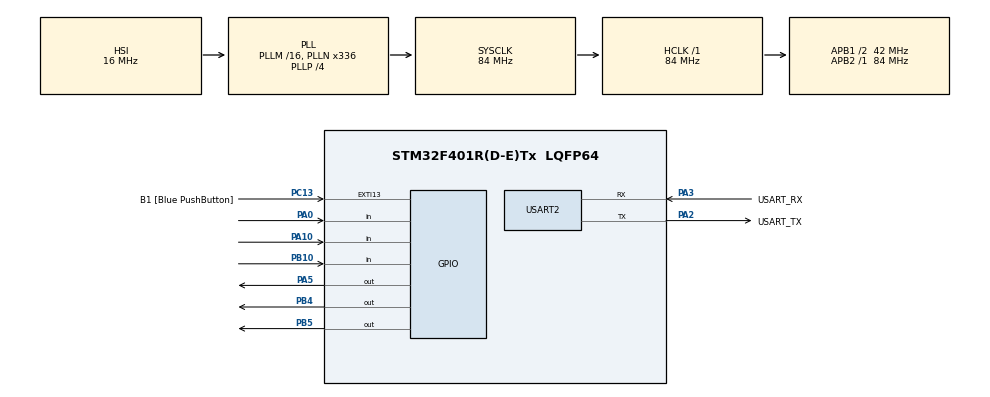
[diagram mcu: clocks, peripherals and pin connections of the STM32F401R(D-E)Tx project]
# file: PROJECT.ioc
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Mcu.Family=STM32F4
Mcu.Name=STM32F401R(D-E)Tx
Mcu.Package=LQFP64
NVIC.PriorityGroup=NVIC_PRIORITYGROUP_4
PA0-WKUP.Signal=GPIO_Input
PA10.Signal=GPIO_Input
PA13.GPIO_Label=TMS
PA13.Mode=Trace_Asynchronous_SW
PA13.Signal=SYS_JTMS-SWDIO
PA14.GPIO_Label=TCK
PA14.Mode=Trace_Asynchronous_SW
PA14.Signal=SYS_JTCK-SWCLK
PA2.GPIO_Label=USART_TX
PA2.GPIO_Mode=GPIO_MODE_AF_PP
PA2.GPIO_PuPd=GPIO_NOPULL
PA2.GPIO_Speed=GPIO_SPEED_FREQ_LOW
PA2.Mode=Asynchronous
PA2.Signal=USART2_TX
PA3.GPIO_Label=USART_RX
PA3.GPIO_Mode=GPIO_MODE_AF_PP
PA3.GPIO_PuPd=GPIO_NOPULL
PA3.GPIO_Speed=GPIO_SPEED_FREQ_LOW
PA3.Mode=Asynchronous
PA3.Signal=USART2_RX
PA5.Signal=GPIO_Output
PB10.Signal=GPIO_Input
PB15.Signal=SPI2_MOSI
PB3.GPIO_Label=SWO
PB3.Mode=Trace_Asynchronous_SW
PB3.Signal=SYS_JTDO-SWO
PB4.Signal=GPIO_Output
PB5.Signal=GPIO_Output
PC13-ANTI_TAMP.GPIO_Label=B1 [Blue PushButton]
PC13-ANTI_TAMP.GPIO_ModeDefaultEXTI=GPIO_MODE_IT_FALLING
PC13-ANTI_TAMP.GPIO_PuPd=GPIO_NOPULL
PC13-ANTI_TAMP.Signal=GPXTI13
PC14-OSC32_IN.Mode=LSE-External-Oscillator
PC14-OSC32_IN.Signal=RCC_OSC32_IN
PC15-OSC32_OUT.Mode=LSE-External-Oscillator
PC15-OSC32_OUT.Signal=RCC_OSC32_OUT
PH0\ -\ OSC_IN.Mode=HSE-External-Clock-Source
PH0\ -\ OSC_IN.Signal=RCC_OSC_IN
PH1\ -\ OSC_OUT.Mode=HSE-External-Clock-Source
PH1\ -\ OSC_OUT.Signal=RCC_OSC_OUT
ProjectManager.HeapSize=0x200
ProjectManager.StackSize=0x400
ProjectManager.TargetToolchain=STM32CubeIDE
RCC.48MHZClocksFreq_Value=48000000
RCC.AHBFreq_Value=84000000
RCC.APB1CLKDivider=RCC_HCLK_DIV2
RCC.APB1Freq_Value=42000000
RCC.APB1TimFreq_Value=84000000
RCC.APB2Freq_Value=84000000
RCC.APB2TimFreq_Value=84000000
RCC.CortexFreq_Value=84000000
RCC.HCLKFreq_Value=84000000
RCC.HSE_VALUE=8000000
RCC.HSI_VALUE=16000000
RCC.PLLN=336
RCC.PLLP=RCC_PLLP_DIV4
RCC.PLLQ=7
RCC.SYSCLKFreq_VALUE=84000000
RCC.SYSCLKSource=RCC_SYSCLKSOURCE_PLLCLK
RCC.VCOOutputFreq_Value=336000000
USART2.VirtualMode=VM_ASYNC
board=NUCLEO-F401RE

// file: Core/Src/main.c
/* USER CODE BEGIN Header */
/**
  ******************************************************************************
  * @file           : main.c
  * @brief          : Main program body
  ******************************************************************************
  * @attention
  *
  * Copyright (c) 2026 STMicroelectronics.
  * All rights reserved.
  *
  ******************************************************************************
  */
/* USER CODE END Header */

#include "main.h"

/* USER CODE BEGIN Includes */
#include <string.h>
#include <stdio.h>
/* USER CODE END Includes */

/* USER CODE BEGIN PD */

/* ===== PIN DEFINITIONS (BASED ON YOUR CONNECTIONS) ===== */
#define LED_PORT        GPIOB
#define LED_PIN         GPIO_PIN_4     // External LED on PB4

#define BUZZER_PORT     GPIOB
#define BUZZER_PIN      GPIO_PIN_5     // Buzzer on PB5

#define LDR_PORT        GPIOB
#define LDR_PIN         GPIO_PIN_10    // LDR D0 on PB10 (Digital)

#define TRIG_PORT       GPIOB
#define TRIG_PIN        GPIO_PIN_3     // Ultrasonic TRIG on PB3

#define ECHO_PORT       GPIOA
#define ECHO_PIN        GPIO_PIN_10    // Ultrasonic ECHO on PA10

#define DHT_PORT        GPIOA
#define DHT_PIN         GPIO_PIN_0     // DHT DATA on PA0

/* Thresholds */
#define DIST_ALERT_CM   15
#define DIST_WARN_CM    30

/* Physical Constants */
#define SPEED_OF_SOUND_CM_US 0.0343f

/* USER CODE END PD */

UART_HandleTypeDef huart2;

/* USER CODE BEGIN PV */
float distance_cm = 0;
uint8_t lightDetected = 0;

uint8_t dht_temp = 0;
uint8_t dht_hum  = 0;
uint8_t dht_ok   = 0;
/* USER CODE END PV */

void SystemClock_Config(void);
static void MX_GPIO_Init(void);
static void MX_USART2_UART_Init(void);

/* USER CODE BEGIN PFP */
static void delay_us(uint16_t us);
static void DWT_Init(void);

static float Ultrasonic_ReadDistanceCM(void);

static void DHT_SetPinOutput(void);
static void DHT_SetPinInput(void);
static uint8_t DHT_Read(uint8_t *temperature, uint8_t *humidity);

static void LED_ON(void);
static void LED_OFF(void);
static void BUZZER_ON(void);
static void BUZZER_OFF(void);
/* USER CODE END PFP */

/* USER CODE BEGIN 0 */

/* ✅ printf redirect to UART2 */
int _write(int file, char *ptr, int len)
{
  HAL_UART_Transmit(&huart2, (uint8_t*)ptr, len, HAL_MAX_DELAY);
  return len;
}

/* microsecond delay using DWT */
static void delay_us(uint16_t us)
{
  uint32_t start = DWT->CYCCNT;
  uint32_t ticks = (SystemCoreClock / 1000000) * us;
  while ((DWT->CYCCNT - start) < ticks);
}

/* Enable DWT cycle counter (needed for delay_us) */
static void DWT_Init(void)
{
  CoreDebug->DEMCR |= CoreDebug_DEMCR_TRCENA_Msk;
  DWT->CYCCNT = 0;
  DWT->CTRL |= DWT_CTRL_CYCCNTENA_Msk;
}

/* ✅ ACTIVE-LOW LED / BUZZER helpers */
static void LED_OFF(void)    { HAL_GPIO_WritePin(LED_PORT, LED_PIN, GPIO_PIN_SET); }
static void LED_ON(void)     { HAL_GPIO_WritePin(LED_PORT, LED_PIN, GPIO_PIN_RESET); }

static void BUZZER_OFF(void) { HAL_GPIO_WritePin(BUZZER_PORT, BUZZER_PIN, GPIO_PIN_SET); }
static void BUZZER_ON(void)  { HAL_GPIO_WritePin(BUZZER_PORT, BUZZER_PIN, GPIO_PIN_RESET); }

/**
 * @brief Reads distance from the HC-SR04 Ultrasonic sensor using DWT.
 * @retval float Distance in centimeters, or -1.0 on timeout.
 */
static float Ultrasonic_ReadDistanceCM(void)
{
  uint32_t t1 = 0, t2 = 0;
  uint32_t timeout = 60000;

  /* Trigger pulse */
  HAL_GPIO_WritePin(TRIG_PORT, TRIG_PIN, GPIO_PIN_RESET);
  delay_us(2);
  HAL_GPIO_WritePin(TRIG_PORT, TRIG_PIN, GPIO_PIN_SET);
  delay_us(10);
  HAL_GPIO_WritePin(TRIG_PORT, TRIG_PIN, GPIO_PIN_RESET);

  /* Wait for ECHO HIGH */
  uint32_t startWait = HAL_GetTick();
  while (HAL_GPIO_ReadPin(ECHO_PORT, ECHO_PIN) == GPIO_PIN_RESET)
  {
    if ((HAL_GetTick() - startWait) > 50) return -1;
  }

  t1 = DWT->CYCCNT;

  /* Wait for ECHO LOW */
  while (HAL_GPIO_ReadPin(ECHO_PORT, ECHO_PIN) == GPIO_PIN_SET)
  {
    if (timeout-- == 0) return -1;
  }

  t2 = DWT->CYCCNT;

  uint32_t diff_cycles = (t2 - t1);
  float time_us = (float)diff_cycles / (SystemCoreClock / 1000000.0f);
  float dist = (time_us * SPEED_OF_SOUND_CM_US) / 2.0f;

  return dist;
}

/* DHT pin direction control */
static void DHT_SetPinOutput(void)
{
  GPIO_InitTypeDef GPIO_InitStruct = {0};
  GPIO_InitStruct.Pin = DHT_PIN;
  GPIO_InitStruct.Mode = GPIO_MODE_OUTPUT_PP;
  GPIO_InitStruct.Pull = GPIO_NOPULL;
  GPIO_InitStruct.Speed = GPIO_SPEED_FREQ_LOW;
  HAL_GPIO_Init(DHT_PORT, &GPIO_InitStruct);
}

static void DHT_SetPinInput(void)
{
  GPIO_InitTypeDef GPIO_InitStruct = {0};
  GPIO_InitStruct.Pin = DHT_PIN;
  GPIO_InitStruct.Mode = GPIO_MODE_INPUT;
  GPIO_InitStruct.Pull = GPIO_NOPULL;
  HAL_GPIO_Init(DHT_PORT, &GPIO_InitStruct);
}

/**
 * @brief Reads temperature and humidity from the DHT sensor using 1-wire protocol.
 * @param temperature Pointer to store the read temperature.
 * @param humidity Pointer to store the read humidity.
 * @retval uint8_t 1 if successful, 0 if checksum or timeout fails.
 */
static uint8_t DHT_Read(uint8_t *temperature, uint8_t *humidity)
{
  uint8_t data[5] = {0};

  /* Start signal */
  DHT_SetPinOutput();
  HAL_GPIO_WritePin(DHT_PORT, DHT_PIN, GPIO_PIN_RESET);
  HAL_Delay(18);
  HAL_GPIO_WritePin(DHT_PORT, DHT_PIN, GPIO_PIN_SET);
  delay_us(30);
  DHT_SetPinInput();

  /* Response check */
  uint32_t wait = 0;
  while (HAL_GPIO_ReadPin(DHT_PORT, DHT_PIN) == GPIO_PIN_SET)
  {
    if (wait++ > 150) return 0;
    delay_us(1);
  }

  wait = 0;
  while (HAL_GPIO_ReadPin(DHT_PORT, DHT_PIN) == GPIO_PIN_RESET)
  {
    if (wait++ > 150) return 0;
    delay_us(1);
  }

  wait = 0;
  while (HAL_GPIO_ReadPin(DHT_PORT, DHT_PIN) == GPIO_PIN_SET)
  {
    if (wait++ > 150) return 0;
    delay_us(1);
  }

  /* Read 40 bits */
  for (int i = 0; i < 40; i++)
  {
    while (HAL_GPIO_ReadPin(DHT_PORT, DHT_PIN) == GPIO_PIN_RESET);

    uint32_t t = 0;
    while (HAL_GPIO_ReadPin(DHT_PORT, DHT_PIN) == GPIO_PIN_SET)
    {
      t++;
      delay_us(1);
      if (t > 255) break;
    }

    data[i/8] <<= 1;
    if (t > 40)
      data[i/8] |= 1;
  }

  if ((uint8_t)(data[0] + data[1] + data[2] + data[3]) != data[4])
    return 0;

  *humidity = data[0];
  *temperature = data[2];
  return 1;
}

/* USER CODE END 0 */

int main(void)
{
  HAL_Init();

  /* ✅ Init DWT AFTER clock config (most stable) */
  SystemClock_Config();
  DWT_Init();

  MX_GPIO_Init();
  MX_USART2_UART_Init();

  LED_OFF();
  BUZZER_OFF();

  printf("\r\n✅ SYSTEM STARTED ✅\r\n");
  printf("Distance | LDR | Temp | Hum\r\n");

  uint32_t last_print = 0;

  while (1)
  {
    /* -------- LDR DIGITAL READ -------- */
    uint8_t ldr_raw = HAL_GPIO_ReadPin(LDR_PORT, LDR_PIN);

    /* ✅ Adjust this if your LDR module logic is opposite */
    if (ldr_raw == GPIO_PIN_RESET)
      lightDetected = 0;   // DARK
    else
      lightDetected = 1;   // BRIGHT

    /* -------- ULTRASONIC READ -------- */
    distance_cm = Ultrasonic_ReadDistanceCM();

    /* -------- DHT READ (every 2 sec) -------- */
    static uint32_t last_dht_time = 0;
    if (HAL_GetTick() - last_dht_time >= 2000)
    {
      last_dht_time = HAL_GetTick();
      dht_ok = DHT_Read(&dht_temp, &dht_hum);
    }

    /* ✅ PRINT EVERY 1 SECOND */
    if (HAL_GetTick() - last_print >= 1000)
    {
      last_print = HAL_GetTick();

      if (distance_cm < 0)
        printf("Dist=ERR | ");
      else
        printf("Dist=%.2fcm | ", distance_cm);

      printf("LDR=%s | ", (lightDetected ? "BRIGHT" : "DARK"));

      if (dht_ok)
        printf("Temp=%dC | Hum=%d%%\r\n", dht_temp, dht_hum);
      else
        printf("Temp=-- | Hum=-- (DHT FAIL)\r\n");
    }

    /* -------- OUTPUT LOGIC -------- */
    LED_OFF();
    BUZZER_OFF();

    /* Condition 1: Object very near */
    if (distance_cm > 0 && distance_cm <= DIST_ALERT_CM)
    {
      LED_ON();
      BUZZER_ON();
      HAL_Delay(150);
      LED_OFF();
      BUZZER_OFF();
      HAL_Delay(150);
      continue;
    }

    /* Condition 2: Object near */
    if (distance_cm > 0 && distance_cm <= DIST_WARN_CM)
    {
      LED_ON();
      HAL_Delay(300);
      LED_OFF();
      HAL_Delay(300);
      continue;
    }

    /* Condition 3: Darkness detected */
    if (lightDetected == 0)
    {
      LED_ON();
      HAL_Delay(700);
      LED_OFF();
      HAL_Delay(700);
      continue;
    }

    /* Condition 4: DHT warning (if ok) */
    if (dht_ok)
    {
      if (dht_temp >= 35 || dht_hum >= 80)
      {
        LED_ON();
        BUZZER_ON();
        HAL_Delay(200);
        LED_OFF();
        BUZZER_OFF();
        HAL_Delay(800);
        continue;
      }
    }

    HAL_Delay(50);
  }
}

/* System Clock */
void SystemClock_Config(void)
{
  RCC_OscInitTypeDef RCC_OscInitStruct = {0};
  RCC_ClkInitTypeDef RCC_ClkInitStruct = {0};

  __HAL_RCC_PWR_CLK_ENABLE();
  __HAL_PWR_VOLTAGESCALING_CONFIG(PWR_REGULATOR_VOLTAGE_SCALE2);

  RCC_OscInitStruct.OscillatorType = RCC_OSCILLATORTYPE_HSI;
  RCC_OscInitStruct.HSIState = RCC_HSI_ON;
  RCC_OscInitStruct.HSICalibrationValue = RCC_HSICALIBRATION_DEFAULT;
  RCC_OscInitStruct.PLL.PLLState = RCC_PLL_ON;
  RCC_OscInitStruct.PLL.PLLSource = RCC_PLLSOURCE_HSI;
  RCC_OscInitStruct.PLL.PLLM = 16;
  RCC_OscInitStruct.PLL.PLLN = 336;
  RCC_OscInitStruct.PLL.PLLP = RCC_PLLP_DIV4;
  RCC_OscInitStruct.PLL.PLLQ = 7;
  if (HAL_RCC_OscConfig(&RCC_OscInitStruct) != HAL_OK) Error_Handler();

  RCC_ClkInitStruct.ClockType = RCC_CLOCKTYPE_HCLK|RCC_CLOCKTYPE_SYSCLK
                              |RCC_CLOCKTYPE_PCLK1|RCC_CLOCKTYPE_PCLK2;
  RCC_ClkInitStruct.SYSCLKSource = RCC_SYSCLKSOURCE_PLLCLK;
  RCC_ClkInitStruct.AHBCLKDivider = RCC_SYSCLK_DIV1;
  RCC_ClkInitStruct.APB1CLKDivider = RCC_HCLK_DIV2;
  RCC_ClkInitStruct.APB2CLKDivider = RCC_HCLK_DIV1;

  if (HAL_RCC_ClockConfig(&RCC_ClkInitStruct, FLASH_LATENCY_2) != HAL_OK)
    Error_Handler();
}

/* UART2 init */
static void MX_USART2_UART_Init(void)
{
  huart2.Instance = USART2;
  huart2.Init.BaudRate = 115200;
  huart2.Init.WordLength = UART_WORDLENGTH_8B;
  huart2.Init.StopBits = UART_STOPBITS_1;
  huart2.Init.Parity = UART_PARITY_NONE;
  huart2.Init.Mode = UART_MODE_TX_RX;
  huart2.Init.HwFlowCtl = UART_HWCONTROL_NONE;
  huart2.Init.OverSampling = UART_OVERSAMPLING_16;
  if (HAL_UART_Init(&huart2) != HAL_OK) Error_Handler();
}

/* GPIO init */
static void MX_GPIO_Init(void)
{
  GPIO_InitTypeDef GPIO_InitStruct = {0};

  __HAL_RCC_GPIOC_CLK_ENABLE();
  __HAL_RCC_GPIOH_CLK_ENABLE();
  __HAL_RCC_GPIOA_CLK_ENABLE();
  __HAL_RCC_GPIOB_CLK_ENABLE();

  /* ✅ IMPORTANT: set outputs OFF (ACTIVE LOW => SET = OFF) */
  HAL_GPIO_WritePin(GPIOB, LED_PIN|BUZZER_PIN, GPIO_PIN_SET);
  HAL_GPIO_WritePin(GPIOB, TRIG_PIN, GPIO_PIN_RESET);

  /* LED PB4 */
  GPIO_InitStruct.Pin = LED_PIN;
  GPIO_InitStruct.Mode = GPIO_MODE_OUTPUT_PP;
  GPIO_InitStruct.Pull = GPIO_NOPULL;
  GPIO_InitStruct.Speed = GPIO_SPEED_FREQ_LOW;
  HAL_GPIO_Init(LED_PORT, &GPIO_InitStruct);

  /* Buzzer PB5 */
  GPIO_InitStruct.Pin = BUZZER_PIN;
  GPIO_InitStruct.Mode = GPIO_MODE_OUTPUT_PP;
  GPIO_InitStruct.Pull = GPIO_NOPULL;
  GPIO_InitStruct.Speed = GPIO_SPEED_FREQ_LOW;
  HAL_GPIO_Init(BUZZER_PORT, &GPIO_InitStruct);

  /* TRIG PB3 */
  GPIO_InitStruct.Pin = TRIG_PIN;
  GPIO_InitStruct.Mode = GPIO_MODE_OUTPUT_PP;
  GPIO_InitStruct.Pull = GPIO_NOPULL;
  GPIO_InitStruct.Speed = GPIO_SPEED_FREQ_LOW;
  HAL_GPIO_Init(TRIG_PORT, &GPIO_InitStruct);

  /* ECHO PA10 */
  GPIO_InitStruct.Pin = ECHO_PIN;
  GPIO_InitStruct.Mode = GPIO_MODE_INPUT;
  GPIO_InitStruct.Pull = GPIO_NOPULL;
  HAL_GPIO_Init(ECHO_PORT, &GPIO_InitStruct);

  /* LDR D0 PB10 */
  GPIO_InitStruct.Pin = LDR_PIN;
  GPIO_InitStruct.Mode = GPIO_MODE_INPUT;
  GPIO_InitStruct.Pull = GPIO_NOPULL;
  HAL_GPIO_Init(LDR_PORT, &GPIO_InitStruct);

  /* DHT PA0 input initially */
  GPIO_InitStruct.Pin = DHT_PIN;
  GPIO_InitStruct.Mode = GPIO_MODE_INPUT;
  GPIO_InitStruct.Pull = GPIO_NOPULL;
  HAL_GPIO_Init(DHT_PORT, &GPIO_InitStruct);
}

void Error_Handler(void)
{
  __disable_irq();
  while (1) {}
}
